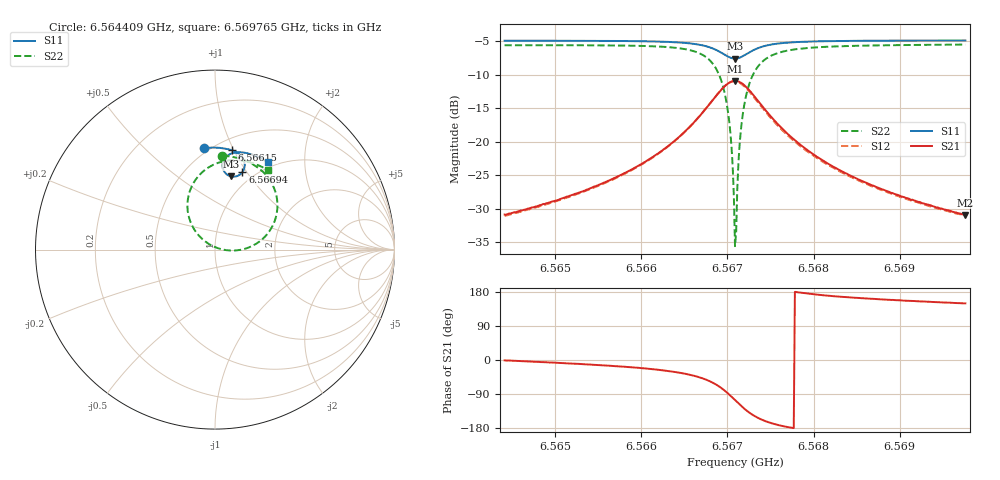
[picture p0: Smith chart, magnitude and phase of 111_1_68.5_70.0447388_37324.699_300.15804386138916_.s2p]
#  HZ  S  RI  R  50.00
! Rohde & Schwarz Vector Network Analyzer
! Rohde-Schwarz,ZNB20-2Port,1311601062101988,3.16
! Created: UTC 3/20/2024, 5:08:42 PM
! freq[Hz]  re:S11  im:S11  re:S21  im:S21  re:S12  im:S12  re:S22  im:S22
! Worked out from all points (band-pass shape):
!   401 points, 6.564409 GHz to 6.569765 GHz, reference 50 ohm
!   highest |S21| = -10.91 dB at 6.567087 GHz (marker M1); lowest = -30.9 dB at 6.569765 GHz (marker M2)
!   |S21| within 3 dB of the highest: 6.566821 GHz to 6.567356 GHz (535.1 kHz wide, 0.00815 % of centre)
!   lowest |S11| = -7.6 dB at 6.567087 GHz (marker M3), VSWR 2.43, Z = 41.5 + j41 ohm
!   |S11| at or under -10 dB: nowhere
!   |S22| runs from -35.6 to -5.5 dB; largest |S21 - S12| = 0.013
!   S11 on the Smith chart (normalised r, x): 6.564409 GHz: 0.47, +0.79; 6.56615 GHz: 0.61, +0.98; 6.56694 GHz: 0.87, +0.95; 6.569765 GHz: 0.91, +1.32
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6.5644094e9  -0.0589 0.566  0.0286 -0.000504  0.0279 -0.00112  0.0409 0.5239
6.5653065e9  0.0149 0.5676  0.0415 -0.008  0.0409 -0.00865  0.1266 0.51
6.5661501e9  0.0942 0.553  0.0712 -0.0328  0.07 -0.0336  0.2379 0.4579
6.5662036e9  0.0997 0.5508  0.0742 -0.0364  0.0731 -0.0372  0.2472 0.4507
6.5665116e9  0.1357 0.5298  0.0967 -0.0715  0.095 -0.0729  0.3091 0.3814
6.5667258e9  0.1603 0.4967  0.1096 -0.129  0.1069 -0.1318  0.3468 0.2703
6.5668463e9  0.165 0.4637  0.0991 -0.1867  0.0943 -0.1902  0.3329 0.1603
6.56694e9  0.1529 0.4315  0.0607 -0.2416  0.0524 -0.2446  0.2636 0.0579
6.5669802e9  0.1406 0.419  0.0313 -0.2623  0.0212 -0.2639  0.2093 0.0211
6.5670204e9  0.1239 0.4098  -0.0059 -0.2761  -0.0175 -0.2753  0.1412 -0.00147
6.5670471e9  0.1108 0.4068  -0.034 -0.2794  -0.0459 -0.2768  0.0906 -0.00529
6.5670739e9  0.0971 0.4066  -0.063 -0.2772  -0.075 -0.2724  0.0393 0.00116
6.5670873e9  0.0901 0.4076  -0.0772 -0.2741  -0.089 -0.2683  0.0142 0.00847
6.5671141e9  0.0771 0.4121  -0.1045 -0.2633  -0.1153 -0.2556  -0.0327 0.0304
6.5671409e9  0.0654 0.4192  -0.1289 -0.248  -0.1381 -0.2384  -0.0731 0.0609
6.567181e9  0.0521 0.4337  -0.1572 -0.2185  -0.1638 -0.2073  -0.1181 0.1165
6.5672346e9  0.0429 0.4557  -0.1788 -0.1747  -0.1819 -0.1632  -0.1487 0.1959
6.5673015e9  0.0429 0.4815  -0.185 -0.1244  -0.1846 -0.1143  -0.1505 0.284
6.5675426e9  0.0803 0.5302  -0.1421 -0.0279  -0.1389 -0.0237  -0.053 0.4459
6.5679844e9  0.1435 0.5422  -0.0812 0.00868  -0.0792 0.00995  0.0845 0.4975
6.5688815e9  0.2275 0.5217  -0.0393 0.0152  -0.0384 0.0155  0.2146 0.48
6.5697652e9  0.2928 0.49  -0.0244 0.0144  -0.0239 0.0146  0.2925 0.4444
